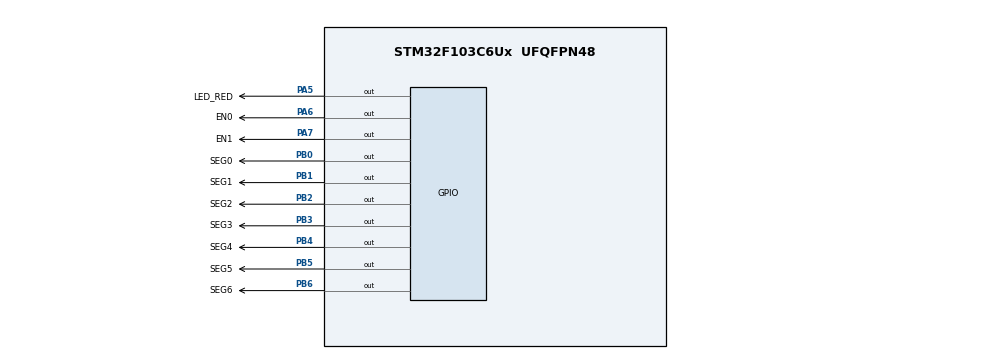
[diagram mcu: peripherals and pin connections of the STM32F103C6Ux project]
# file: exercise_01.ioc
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Mcu.Family=STM32F1
Mcu.Name=STM32F103C6Ux
Mcu.Package=UFQFPN48
NVIC.PriorityGroup=NVIC_PRIORITYGROUP_4
NVIC.TIM2_IRQn=true\:0\:0\:false\:false\:true\:true\:true\:true
PA5.GPIO_Label=LED_RED
PA5.Signal=GPIO_Output
PA6.GPIO_Label=EN0
PA6.Signal=GPIO_Output
PA7.GPIO_Label=EN1
PA7.Signal=GPIO_Output
PB0.GPIO_Label=SEG0
PB0.Signal=GPIO_Output
PB1.GPIO_Label=SEG1
PB1.Signal=GPIO_Output
PB2.GPIO_Label=SEG2
PB2.Signal=GPIO_Output
PB3.GPIO_Label=SEG3
PB3.Signal=GPIO_Output
PB4.GPIO_Label=SEG4
PB4.Signal=GPIO_Output
PB5.GPIO_Label=SEG5
PB5.Signal=GPIO_Output
PB6.GPIO_Label=SEG6
PB6.Signal=GPIO_Output
ProjectManager.HeapSize=0x200
ProjectManager.StackSize=0x400
ProjectManager.TargetToolchain=CMake
RCC.APB1Freq_Value=8000000
RCC.APB2Freq_Value=8000000
TIM2.Period=9
TIM2.Prescaler=7999
VP_SYS_VS_ND.Mode=No_Debug
VP_TIM2_VS_ClockSourceINT.Mode=Internal
board=custom

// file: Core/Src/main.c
/* USER CODE BEGIN Header */
/**
 ******************************************************************************
 * @file           : main.c
 * @brief          : Main program body
 ******************************************************************************
 * @attention
 *
 * Copyright (c) 2025 STMicroelectronics.
 * All rights reserved.
 *
 * This software is licensed under terms that can be found in the LICENSE file
 * in the root directory of this software component.
 * If no LICENSE file comes with this software, it is provided AS-IS.
 *
 ******************************************************************************
 */
/* USER CODE END Header */
#include "main.h"

TIM_HandleTypeDef htim2;

void SystemClock_Config(void);
static void MX_GPIO_Init(void);
static void MX_TIM2_Init(void);

/* USER CODE BEGIN 0 */
void display7SEG(int num)
{
    switch (num)
    {
    case 0: // A B C D E F ON, G OFF
        HAL_GPIO_WritePin(SEG0_GPIO_Port, SEG0_Pin, GPIO_PIN_RESET);
        HAL_GPIO_WritePin(SEG1_GPIO_Port, SEG1_Pin, GPIO_PIN_RESET);
        HAL_GPIO_WritePin(SEG2_GPIO_Port, SEG2_Pin, GPIO_PIN_RESET);
        HAL_GPIO_WritePin(SEG3_GPIO_Port, SEG3_Pin, GPIO_PIN_RESET);
        HAL_GPIO_WritePin(SEG4_GPIO_Port, SEG4_Pin, GPIO_PIN_RESET);
        HAL_GPIO_WritePin(SEG5_GPIO_Port, SEG5_Pin, GPIO_PIN_RESET);
        HAL_GPIO_WritePin(SEG6_GPIO_Port, SEG6_Pin, GPIO_PIN_SET);
        break;
    case 1: // B C ON
        HAL_GPIO_WritePin(SEG0_GPIO_Port, SEG0_Pin, GPIO_PIN_SET);
        HAL_GPIO_WritePin(SEG1_GPIO_Port, SEG1_Pin, GPIO_PIN_RESET);
        HAL_GPIO_WritePin(SEG2_GPIO_Port, SEG2_Pin, GPIO_PIN_RESET);
        HAL_GPIO_WritePin(SEG3_GPIO_Port, SEG3_Pin, GPIO_PIN_SET);
        HAL_GPIO_WritePin(SEG4_GPIO_Port, SEG4_Pin, GPIO_PIN_SET);
        HAL_GPIO_WritePin(SEG5_GPIO_Port, SEG5_Pin, GPIO_PIN_SET);
        HAL_GPIO_WritePin(SEG6_GPIO_Port, SEG6_Pin, GPIO_PIN_SET);
        break;
    case 2: // A B D E G ON
        HAL_GPIO_WritePin(SEG0_GPIO_Port, SEG0_Pin, GPIO_PIN_RESET);
        HAL_GPIO_WritePin(SEG1_GPIO_Port, SEG1_Pin, GPIO_PIN_RESET);
        HAL_GPIO_WritePin(SEG2_GPIO_Port, SEG2_Pin, GPIO_PIN_SET);
        HAL_GPIO_WritePin(SEG3_GPIO_Port, SEG3_Pin, GPIO_PIN_RESET);
        HAL_GPIO_WritePin(SEG4_GPIO_Port, SEG4_Pin, GPIO_PIN_RESET);
        HAL_GPIO_WritePin(SEG5_GPIO_Port, SEG5_Pin, GPIO_PIN_SET);
        HAL_GPIO_WritePin(SEG6_GPIO_Port, SEG6_Pin, GPIO_PIN_RESET);
        break;
    case 3: // A B C D G ON
        HAL_GPIO_WritePin(SEG0_GPIO_Port, SEG0_Pin, GPIO_PIN_RESET);
        HAL_GPIO_WritePin(SEG1_GPIO_Port, SEG1_Pin, GPIO_PIN_RESET);
        HAL_GPIO_WritePin(SEG2_GPIO_Port, SEG2_Pin, GPIO_PIN_RESET);
        HAL_GPIO_WritePin(SEG3_GPIO_Port, SEG3_Pin, GPIO_PIN_RESET);
        HAL_GPIO_WritePin(SEG4_GPIO_Port, SEG4_Pin, GPIO_PIN_SET);
        HAL_GPIO_WritePin(SEG5_GPIO_Port, SEG5_Pin, GPIO_PIN_SET);
        HAL_GPIO_WritePin(SEG6_GPIO_Port, SEG6_Pin, GPIO_PIN_RESET);
        break;
    case 4: // B C F G ON
        HAL_GPIO_WritePin(SEG0_GPIO_Port, SEG0_Pin, GPIO_PIN_SET);
        HAL_GPIO_WritePin(SEG1_GPIO_Port, SEG1_Pin, GPIO_PIN_RESET);
        HAL_GPIO_WritePin(SEG2_GPIO_Port, SEG2_Pin, GPIO_PIN_RESET);
        HAL_GPIO_WritePin(SEG3_GPIO_Port, SEG3_Pin, GPIO_PIN_SET);
        HAL_GPIO_WritePin(SEG4_GPIO_Port, SEG4_Pin, GPIO_PIN_SET);
        HAL_GPIO_WritePin(SEG5_GPIO_Port, SEG5_Pin, GPIO_PIN_RESET);
        HAL_GPIO_WritePin(SEG6_GPIO_Port, SEG6_Pin, GPIO_PIN_RESET);
        break;
    case 5: // A C D F G ON
        HAL_GPIO_WritePin(SEG0_GPIO_Port, SEG0_Pin, GPIO_PIN_RESET);
        HAL_GPIO_WritePin(SEG1_GPIO_Port, SEG1_Pin, GPIO_PIN_SET);
        HAL_GPIO_WritePin(SEG2_GPIO_Port, SEG2_Pin, GPIO_PIN_RESET);
        HAL_GPIO_WritePin(SEG3_GPIO_Port, SEG3_Pin, GPIO_PIN_RESET);
        HAL_GPIO_WritePin(SEG4_GPIO_Port, SEG4_Pin, GPIO_PIN_SET);
        HAL_GPIO_WritePin(SEG5_GPIO_Port, SEG5_Pin, GPIO_PIN_RESET);
        HAL_GPIO_WritePin(SEG6_GPIO_Port, SEG6_Pin, GPIO_PIN_RESET);
        break;
    case 6: // A C D E F G ON
        HAL_GPIO_WritePin(SEG0_GPIO_Port, SEG0_Pin, GPIO_PIN_RESET);
        HAL_GPIO_WritePin(SEG1_GPIO_Port, SEG1_Pin, GPIO_PIN_SET);
        HAL_GPIO_WritePin(SEG2_GPIO_Port, SEG2_Pin, GPIO_PIN_RESET);
        HAL_GPIO_WritePin(SEG3_GPIO_Port, SEG3_Pin, GPIO_PIN_RESET);
        HAL_GPIO_WritePin(SEG4_GPIO_Port, SEG4_Pin, GPIO_PIN_RESET);
        HAL_GPIO_WritePin(SEG5_GPIO_Port, SEG5_Pin, GPIO_PIN_RESET);
        HAL_GPIO_WritePin(SEG6_GPIO_Port, SEG6_Pin, GPIO_PIN_RESET);
        break;
    case 7: // A B C ON
        HAL_GPIO_WritePin(SEG0_GPIO_Port, SEG0_Pin, GPIO_PIN_RESET);
        HAL_GPIO_WritePin(SEG1_GPIO_Port, SEG1_Pin, GPIO_PIN_RESET);
        HAL_GPIO_WritePin(SEG2_GPIO_Port, SEG2_Pin, GPIO_PIN_RESET);
        HAL_GPIO_WritePin(SEG3_GPIO_Port, SEG3_Pin, GPIO_PIN_SET);
        HAL_GPIO_WritePin(SEG4_GPIO_Port, SEG4_Pin, GPIO_PIN_SET);
        HAL_GPIO_WritePin(SEG5_GPIO_Port, SEG5_Pin, GPIO_PIN_SET);
        HAL_GPIO_WritePin(SEG6_GPIO_Port, SEG6_Pin, GPIO_PIN_SET);
        break;
    case 8: // A B C D E F G ON
        HAL_GPIO_WritePin(SEG0_GPIO_Port, SEG0_Pin, GPIO_PIN_RESET);
        HAL_GPIO_WritePin(SEG1_GPIO_Port, SEG1_Pin, GPIO_PIN_RESET);
        HAL_GPIO_WritePin(SEG2_GPIO_Port, SEG2_Pin, GPIO_PIN_RESET);
        HAL_GPIO_WritePin(SEG3_GPIO_Port, SEG3_Pin, GPIO_PIN_RESET);
        HAL_GPIO_WritePin(SEG4_GPIO_Port, SEG4_Pin, GPIO_PIN_RESET);
        HAL_GPIO_WritePin(SEG5_GPIO_Port, SEG5_Pin, GPIO_PIN_RESET);
        HAL_GPIO_WritePin(SEG6_GPIO_Port, SEG6_Pin, GPIO_PIN_RESET);
        break;
    case 9: // A B C D F G ON
        HAL_GPIO_WritePin(SEG0_GPIO_Port, SEG0_Pin, GPIO_PIN_RESET);
        HAL_GPIO_WritePin(SEG1_GPIO_Port, SEG1_Pin, GPIO_PIN_RESET);
        HAL_GPIO_WritePin(SEG2_GPIO_Port, SEG2_Pin, GPIO_PIN_RESET);
        HAL_GPIO_WritePin(SEG3_GPIO_Port, SEG3_Pin, GPIO_PIN_RESET);
        HAL_GPIO_WritePin(SEG4_GPIO_Port, SEG4_Pin, GPIO_PIN_SET);
        HAL_GPIO_WritePin(SEG5_GPIO_Port, SEG5_Pin, GPIO_PIN_RESET);
        HAL_GPIO_WritePin(SEG6_GPIO_Port, SEG6_Pin, GPIO_PIN_RESET);
        break;
    default: // All OFF
        HAL_GPIO_WritePin(SEG0_GPIO_Port, SEG0_Pin, GPIO_PIN_SET);
        HAL_GPIO_WritePin(SEG1_GPIO_Port, SEG1_Pin, GPIO_PIN_SET);
        HAL_GPIO_WritePin(SEG2_GPIO_Port, SEG2_Pin, GPIO_PIN_SET);
        HAL_GPIO_WritePin(SEG3_GPIO_Port, SEG3_Pin, GPIO_PIN_SET);
        HAL_GPIO_WritePin(SEG4_GPIO_Port, SEG4_Pin, GPIO_PIN_SET);
        HAL_GPIO_WritePin(SEG5_GPIO_Port, SEG5_Pin, GPIO_PIN_SET);
        HAL_GPIO_WritePin(SEG6_GPIO_Port, SEG6_Pin, GPIO_PIN_SET);
        break;
    }
}

void enable_first_7seg()
{
    HAL_GPIO_WritePin(EN0_GPIO_Port, EN0_Pin, GPIO_PIN_RESET);
}

void disable_first_7seg()
{
    HAL_GPIO_WritePin(EN0_GPIO_Port, EN0_Pin, GPIO_PIN_SET);
}

void enable_second_7seg()
{
    HAL_GPIO_WritePin(EN1_GPIO_Port, EN1_Pin, GPIO_PIN_RESET);
}

void disable_second_7seg()
{
    HAL_GPIO_WritePin(EN1_GPIO_Port, EN1_Pin, GPIO_PIN_SET);
}

/* USER CODE END 0 */

int main(void)
{

    /* MCU Configuration--------------------------------------------------------*/

    /* Reset of all peripherals, Initializes the Flash interface and the Systick. */
    HAL_Init();

    /* Configure the system clock */
    SystemClock_Config();

    /* Initialize all configured peripherals */
    MX_GPIO_Init();
    MX_TIM2_Init();

    /* USER CODE BEGIN 2 */
    HAL_TIM_Base_Start_IT(&htim2);
    /* USER CODE END 2 */

    /* Infinite loop */
    while (1)
    {

    }
}

void SystemClock_Config(void)
{
    RCC_OscInitTypeDef RCC_OscInitStruct = {0};
    RCC_ClkInitTypeDef RCC_ClkInitStruct = {0};

    /** Initializes the RCC Oscillators according to the specified parameters
     * in the RCC_OscInitTypeDef structure.
     */
    RCC_OscInitStruct.OscillatorType = RCC_OSCILLATORTYPE_HSI;
    RCC_OscInitStruct.HSIState = RCC_HSI_ON;
    RCC_OscInitStruct.HSICalibrationValue = RCC_HSICALIBRATION_DEFAULT;
    RCC_OscInitStruct.PLL.PLLState = RCC_PLL_NONE;
    if (HAL_RCC_OscConfig(&RCC_OscInitStruct) != HAL_OK)
    {
        Error_Handler();
    }

    /** Initializes the CPU, AHB and APB buses clocks
     */
    RCC_ClkInitStruct.ClockType = RCC_CLOCKTYPE_HCLK | RCC_CLOCKTYPE_SYSCLK | RCC_CLOCKTYPE_PCLK1 | RCC_CLOCKTYPE_PCLK2;
    RCC_ClkInitStruct.SYSCLKSource = RCC_SYSCLKSOURCE_HSI;
    RCC_ClkInitStruct.AHBCLKDivider = RCC_SYSCLK_DIV1;
    RCC_ClkInitStruct.APB1CLKDivider = RCC_HCLK_DIV1;
    RCC_ClkInitStruct.APB2CLKDivider = RCC_HCLK_DIV1;

    if (HAL_RCC_ClockConfig(&RCC_ClkInitStruct, FLASH_LATENCY_0) != HAL_OK)
    {
        Error_Handler();
    }
}

static void MX_TIM2_Init(void)
{

    TIM_ClockConfigTypeDef sClockSourceConfig = {0};
    TIM_MasterConfigTypeDef sMasterConfig = {0};

    htim2.Instance = TIM2;
    htim2.Init.Prescaler = 7999;
    htim2.Init.CounterMode = TIM_COUNTERMODE_UP;
    htim2.Init.Period = 9;
    htim2.Init.ClockDivision = TIM_CLOCKDIVISION_DIV1;
    htim2.Init.AutoReloadPreload = TIM_AUTORELOAD_PRELOAD_DISABLE;
    if (HAL_TIM_Base_Init(&htim2) != HAL_OK)
    {
        Error_Handler();
    }
    sClockSourceConfig.ClockSource = TIM_CLOCKSOURCE_INTERNAL;
    if (HAL_TIM_ConfigClockSource(&htim2, &sClockSourceConfig) != HAL_OK)
    {
        Error_Handler();
    }
    sMasterConfig.MasterOutputTrigger = TIM_TRGO_RESET;
    sMasterConfig.MasterSlaveMode = TIM_MASTERSLAVEMODE_DISABLE;
    if (HAL_TIMEx_MasterConfigSynchronization(&htim2, &sMasterConfig) != HAL_OK)
    {
        Error_Handler();
    }
}

static void MX_GPIO_Init(void)
{
    GPIO_InitTypeDef GPIO_InitStruct = {0};

    /* GPIO Ports Clock Enable */
    __HAL_RCC_GPIOA_CLK_ENABLE();
    __HAL_RCC_GPIOB_CLK_ENABLE();

    /*Configure GPIO pin Output Level */
    HAL_GPIO_WritePin(GPIOA, LED_RED_Pin | EN0_Pin | EN1_Pin, GPIO_PIN_SET);

    /*Configure GPIO pin Output Level */
    HAL_GPIO_WritePin(GPIOB, SEG0_Pin | SEG1_Pin | SEG2_Pin | SEG3_Pin | SEG4_Pin | SEG5_Pin | SEG6_Pin, GPIO_PIN_SET);

    /*Configure GPIO pins : LED_RED_Pin EN0_Pin EN1_Pin */
    GPIO_InitStruct.Pin = LED_RED_Pin | EN0_Pin | EN1_Pin;
    GPIO_InitStruct.Mode = GPIO_MODE_OUTPUT_PP;
    GPIO_InitStruct.Pull = GPIO_NOPULL;
    GPIO_InitStruct.Speed = GPIO_SPEED_FREQ_LOW;
    HAL_GPIO_Init(GPIOA, &GPIO_InitStruct);

    /*Configure GPIO pins : SEG0_Pin SEG1_Pin SEG2_Pin SEG3_Pin
                             SEG4_Pin SEG5_Pin SEG6_Pin */
    GPIO_InitStruct.Pin = SEG0_Pin | SEG1_Pin | SEG2_Pin | SEG3_Pin | SEG4_Pin | SEG5_Pin | SEG6_Pin;
    GPIO_InitStruct.Mode = GPIO_MODE_OUTPUT_PP;
    GPIO_InitStruct.Pull = GPIO_NOPULL;
    GPIO_InitStruct.Speed = GPIO_SPEED_FREQ_LOW;
    HAL_GPIO_Init(GPIOB, &GPIO_InitStruct);

}

/* USER CODE BEGIN 4 */
void HAL_TIM_PeriodElapsedCallback(TIM_HandleTypeDef *htim)
{
    static int counter = 0;
    static int show_first_7seg = 0;
    if (htim->Instance == TIM2)
    {
        counter++;
        if (counter >= 50)
        {
            counter = 0;
            show_first_7seg = !show_first_7seg;
        }

        if (show_first_7seg)
        {
            disable_second_7seg();
            display7SEG(1);
            enable_first_7seg();
        }
        else
        {
            disable_first_7seg();
            display7SEG(2);
            enable_second_7seg();
        }
    }
}

/* USER CODE END 4 */

void Error_Handler(void)
{
    __disable_irq();
    while (1)
    {
    }
}
